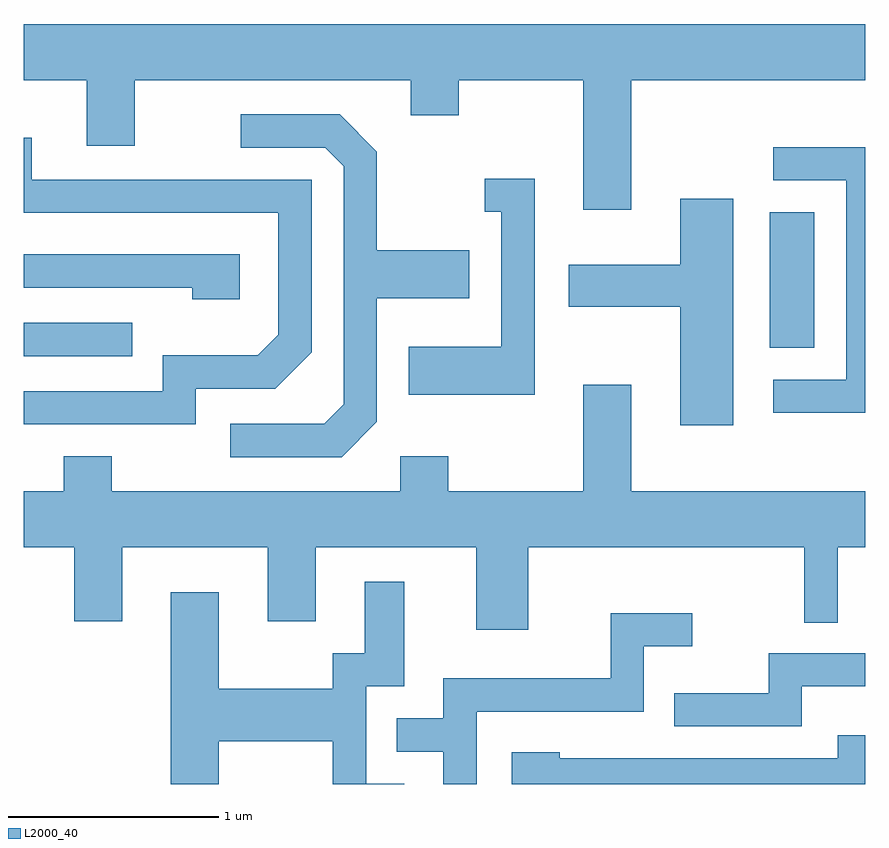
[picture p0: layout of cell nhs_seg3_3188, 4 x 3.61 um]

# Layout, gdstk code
import gdstk
lib = gdstk.Library(unit=1e-6, precision=1e-09)
def R(c, l, rs):  # rectangles x0, y0, x1, y1
    for r in rs: c.add(gdstk.rectangle(r[:2], r[2:], *l))
def P(c, l, *ps):  # polygons
    for p in ps: c.add(gdstk.Polygon(p, *l))
L2000_40 = (2000, 40)

nhs_seg3_3188 = lib.new_cell('nhs_seg3_3188')
R(nhs_seg3_3188, L2000_40, [(277.611,1237.926,278.128,1238.084), (281.156,1237.966,281.369,1238.609)])
P(nhs_seg3_3188, L2000_40, [(280.499,1239.236),(281.611,1239.236),(281.611,1239.504),(277.611,1239.504),(277.611,1239.236),(277.911,1239.236),(277.911,1238.926),(278.139,1238.926),(278.139,1239.236),(279.451,1239.236),(279.451,1239.071),(279.679,1239.071),(279.679,1239.236),(280.271,1239.236),(280.271,1238.621),(280.499,1238.621)],
  [(279.289,1237.614),(279.289,1238.201),(279.729,1238.201),(279.729,1238.429),(279.289,1238.429),(279.289,1238.897),(279.112,1239.074),(278.643,1239.074),(278.643,1238.916),(279.044,1238.916),(279.131,1238.829),(279.131,1237.697),(279.039,1237.604),(278.593,1237.604),(278.593,1237.446),(279.122,1237.446)],
  [(278.429,1237.771),(278.807,1237.771),(278.979,1237.944),(278.979,1238.764),(277.649,1238.764),(277.649,1238.963),(277.611,1238.963),(277.611,1238.606),(278.821,1238.606),(278.821,1238.027),(278.724,1237.929),(278.271,1237.929),(278.271,1237.759),(277.611,1237.759),(277.611,1237.601),(278.429,1237.601)],
  [(281.611,1238.919),(281.173,1238.919),(281.173,1238.761),(281.521,1238.761),(281.521,1237.814),(281.173,1237.814),(281.173,1237.656),(281.611,1237.656)],
  [(280.039,1238.769),(279.803,1238.769),(279.803,1238.611),(279.881,1238.611),(279.881,1237.969),(279.441,1237.969),(279.441,1237.741),(280.039,1237.741)],
  [(280.984,1238.674),(280.731,1238.674),(280.731,1238.359),(280.201,1238.359),(280.201,1238.161),(280.731,1238.161),(280.731,1237.596),(280.984,1237.596)],
  [(278.639,1238.409),(277.611,1238.409),(277.611,1238.251),(278.411,1238.251),(278.411,1238.196),(278.639,1238.196)],
  [(280.009,1237.016),(281.321,1237.016),(281.321,1236.658),(281.479,1236.658),(281.479,1237.016),(281.611,1237.016),(281.611,1237.284),(280.499,1237.284),(280.499,1237.789),(280.271,1237.789),(280.271,1237.284),(279.629,1237.284),(279.629,1237.449),(279.401,1237.449),(279.401,1237.284),(278.029,1237.284),(278.029,1237.449),(277.801,1237.449),(277.801,1237.284),(277.611,1237.284),(277.611,1237.016),(277.851,1237.016),(277.851,1236.666),(278.079,1236.666),(278.079,1237.016),(278.771,1237.016),(278.771,1236.666),(278.999,1236.666),(278.999,1237.016),(279.761,1237.016),(279.761,1236.626),(280.009,1236.626)],
  [(278.539,1236.096),(279.081,1236.096),(279.081,1235.892),(279.419,1235.892),(279.419,1235.894),(279.239,1235.894),(279.239,1236.356),(279.419,1236.356),(279.419,1236.854),(279.231,1236.854),(279.231,1236.514),(279.081,1236.514),(279.081,1236.344),(278.539,1236.344),(278.539,1236.804),(278.311,1236.804),(278.311,1235.892),(278.539,1235.892)],
  [(279.764,1236.236),(280.559,1236.236),(280.559,1236.546),(280.788,1236.546),(280.788,1236.704),(280.401,1236.704),(280.401,1236.394),(279.606,1236.394),(279.606,1236.204),(279.383,1236.204),(279.383,1236.046),(279.606,1236.046),(279.606,1235.892),(279.764,1235.892)],
  [(281.309,1236.356),(281.611,1236.356),(281.611,1236.514),(281.151,1236.514),(281.151,1236.324),(280.703,1236.324),(280.703,1236.166),(281.309,1236.166)],
  [(281.611,1236.124),(281.481,1236.124),(281.481,1236.014),(280.159,1236.014),(280.159,1236.044),(279.931,1236.044),(279.931,1235.892),(281.611,1235.892)])

lib.write_gds('nhs_seg3_3188.gds')
